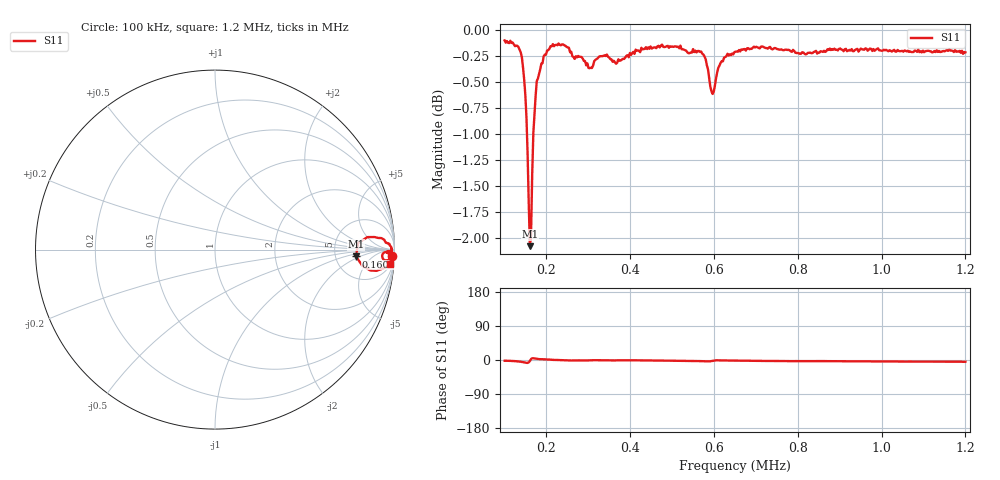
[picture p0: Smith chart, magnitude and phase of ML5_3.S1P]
!Agilent Technologies,E5071C,MY46100265,A.07.02
!Date: Wed Mar 04 14:58:30 2020
!Data & Calibration Information:
!Freq	S11:SOLT1(ON)
# Hz S MA R 50
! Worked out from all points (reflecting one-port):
!   402 points, 100 kHz to 1.2 MHz, reference 50 ohm
!   lowest |S11| = -2.1 dB at 160.3 kHz (marker M1), VSWR 8.39, Z = 403 - j80.5 ohm
!   phase of S11 starts at -2 deg and turns -3 deg over the sweep
!   S11 on the Smith chart (normalised r, x): 100 kHz: 17, -52; 160.3 kHz: 8.06, -1.61; 1.2 MHz: 7, -22
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100000  0.9888 -2.0
127431  0.983 -3.2
138404  0.976 -4.6
146633  0.9472 -6.3
152120  0.9085 -7.5
154863  0.8723 -7.7
157606  0.8254 -6.3
160349  0.787 -2.8
165835  0.8518 4.7
168579  0.8921 4.5
171322  0.9108 4.1
179551  0.948 2.8
193267  0.9716 1.9
239900  0.9844 -0.5
259102  0.9765 -1.3
305736  0.9593 -0.8
333167  0.9717 -0.9
377057  0.9671 -0.7
514214  0.982 -2.1
571820  0.9744 -3.2
585536  0.9575 -3.7
596509  0.9318 -2.1
607481  0.9544 -0.9
651372  0.9766 -1.6
788529  0.9785 -2.9
925686  0.9777 -3.5
1062843  0.9776 -4.0
1200000  0.9758 -4.7
